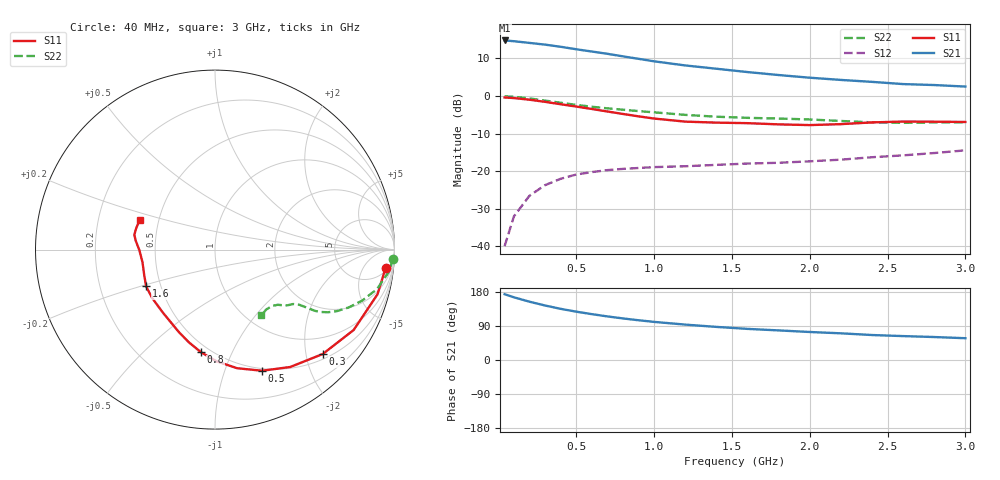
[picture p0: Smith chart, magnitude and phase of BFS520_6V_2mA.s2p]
! Filename:  BFS520G.S2P  Version:  4.0
! Philips part #: BFS520  Date: Jun 1994
! Bias condition: Vce=6V, Ic=2mA
#  MHz  S  MA  R  50
! Freq  S11  S21  S12  S22  !GUM [dB]
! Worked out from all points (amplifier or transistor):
!   21 points, 40 MHz to 3 GHz, reference 50 ohm
!   highest |S21| = 14.8 dB at 40 MHz (marker M1)
!   |S21| within 3 dB of that: start of sweep to 609.1 MHz
!   unconditionally stable (mu >= 1): 1.359 GHz to end of sweep
!   at 300 MHz: K = 0.28, MSG = 18.7 dB, |S12| = -23.7 dB
!   at 1 GHz: K = 0.77, MSG = 14.1 dB, |S12| = -18.9 dB
!   at 3 GHz: K = 1.21, MAG = 5.7 dB, |S12| = -14.5 dB
!   S11 on the Smith chart (normalised r, x): 40 MHz: 7, -16; 300 MHz: 0.60, -2.34; 500 MHz: 0.48, -1.35; 800 MHz: 0.45, -0.77; 1.6 GHz: 0.41, -0.21; 3 GHz: 0.39, +0.16
40  0.956 -6.2  5.495 173.7  0.01 86.1  0.992 -2.9
100  0.939 -15.4  5.368 165.4  0.025 79.2  0.977 -7.2
200  0.893 -30.1  5.096 153.8  0.047 70.1  0.929 -13.7
300  0.836 -44.1  4.834 143.8  0.065 62.8  0.869 -19.0
400  0.777 -57.3  4.527 135.0  0.079 57.3  0.813 -23.3
500  0.724 -68.8  4.196 127.6  0.09 52.8  0.762 -26.7
600  0.672 -79.5  3.915 121.0  0.097 49.9  0.72 -29.0
700  0.622 -89.3  3.65 115.0  0.103 47.9  0.685 -30.5
800  0.577 -97.8  3.375 109.7  0.107 46.6  0.657 -31.4
900  0.536 -105.9  3.13 104.9  0.11 45.7  0.63 -31.9
1000  0.501 -113.8  2.899 100.6  0.113 45.2  0.606 -32.3
1200  0.456 -129.4  2.555 93.4  0.116 45.5  0.561 -33.2
1400  0.442 -142.4  2.309 87.4  0.121 47.2  0.53 -34.9
1600  0.435 -151.9  2.085 82.1  0.126 49.4  0.512 -37.2
1800  0.419 -160.3  1.903 78.1  0.129 52.7  0.501 -38.5
2000  0.41 -170.2  1.753 73.9  0.135 56.0  0.487 -39.5
2200  0.422 -179.8  1.638 70.4  0.142 59.7  0.465 -41.4
2400  0.445 173.5  1.543 65.9  0.153 62.7  0.446 -44.9
2600  0.457 169.6  1.442 63.1  0.162 65.2  0.439 -49.5
2800  0.455 165.0  1.4 60.6  0.174 68.3  0.445 -52.9
3000  0.451 158.5  1.336 57.5  0.189 70.6  0.446 -54.7
